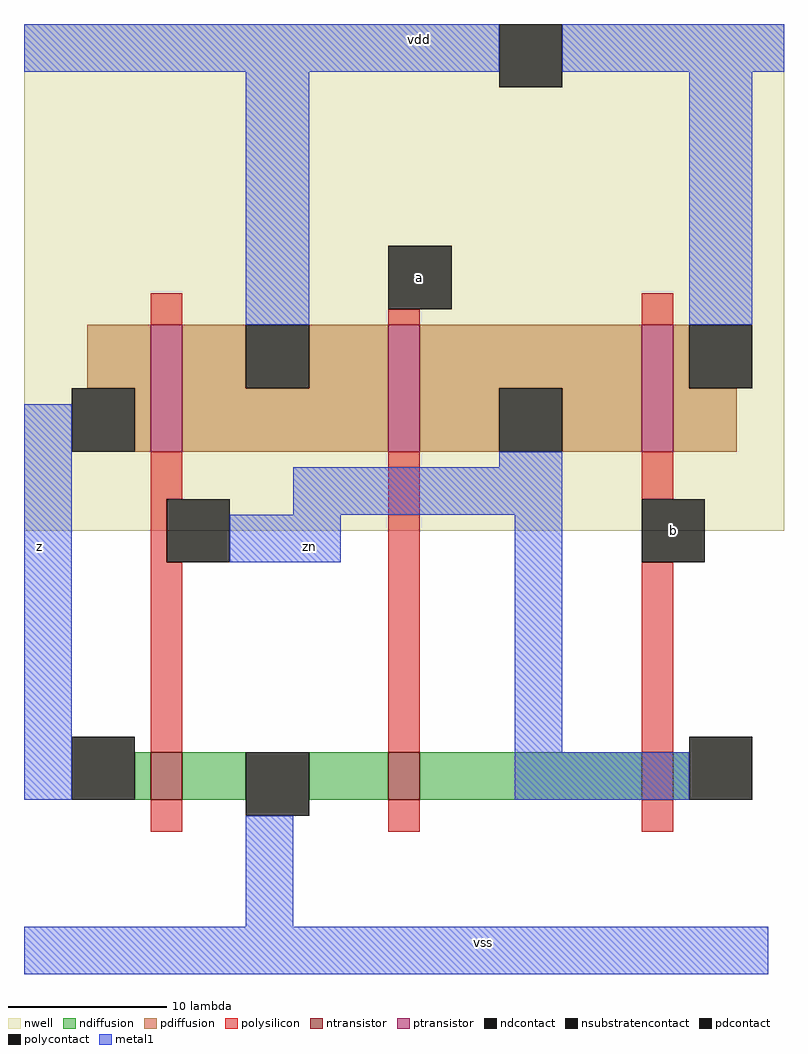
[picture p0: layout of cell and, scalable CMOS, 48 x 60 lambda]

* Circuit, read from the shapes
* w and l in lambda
.subckt and a b vdd vss z zn
M1 vss zn z VSUBS nfet w=3 l=2
M2 n1 a vss VSUBS nfet w=3 l=2
M3 zn b n1 VSUBS nfet w=3 l=2
M4 vdd zn z vdd pfet w=8 l=2
M5 zn a vdd vdd pfet w=8 l=2
M6 vdd b zn vdd pfet w=8 l=2
.ends

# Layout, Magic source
magic
tech scmos
<< nwell >>
rect -17 19 31 51
<< polysilicon >>
rect -9 32 -7 34
rect 6 32 8 33
rect 22 32 24 34
rect -9 21 -7 24
rect -9 17 -8 21
rect -9 5 -7 17
rect 6 5 8 24
rect 22 21 24 24
rect 22 5 24 17
rect -9 0 -7 2
rect 6 0 8 2
rect 22 0 24 2
<< ndiffusion >>
rect -10 2 -9 5
rect -7 2 -3 5
rect 1 2 6 5
rect 8 2 22 5
rect 24 2 25 5
<< pdiffusion >>
rect -13 28 -9 32
rect -10 24 -9 28
rect -7 28 -3 32
rect 1 28 6 32
rect -7 24 6 28
rect 8 28 22 32
rect 8 24 13 28
rect 17 24 22 28
rect 24 28 25 32
rect 24 24 28 28
<< metal1 >>
rect -17 48 13 51
rect -3 32 1 48
rect 17 48 31 51
rect 25 32 29 48
rect -17 2 -14 27
rect 13 23 17 24
rect 0 20 17 23
rect -4 17 3 20
rect 14 5 17 20
rect 14 2 25 5
rect -3 -6 0 1
rect -17 -9 30 -6
<< ntransistor >>
rect -9 2 -7 5
rect 6 2 8 5
rect 22 2 24 5
<< ptransistor >>
rect -9 24 -7 32
rect 6 24 8 32
rect 22 24 24 32
<< polycontact >>
rect 6 33 10 37
rect -8 17 -4 21
rect 22 17 26 21
<< ndcontact >>
rect -14 2 -10 6
rect -3 1 1 5
rect 25 2 29 6
<< pdcontact >>
rect -14 24 -10 28
rect -3 28 1 32
rect 13 24 17 28
rect 25 28 29 32
<< nsubstratencontact >>
rect 13 47 17 51
<< labels >>
rlabel polycontact 24 19 24 19 1 b
rlabel metal1 1 18 1 18 1 zn
rlabel metal1 -16 18 -16 18 3 z
rlabel polycontact 8 35 8 35 1 a
rlabel metal1 12 -7 12 -7 1 vss
rlabel metal1 8 50 8 50 5 vdd
<< end >>
